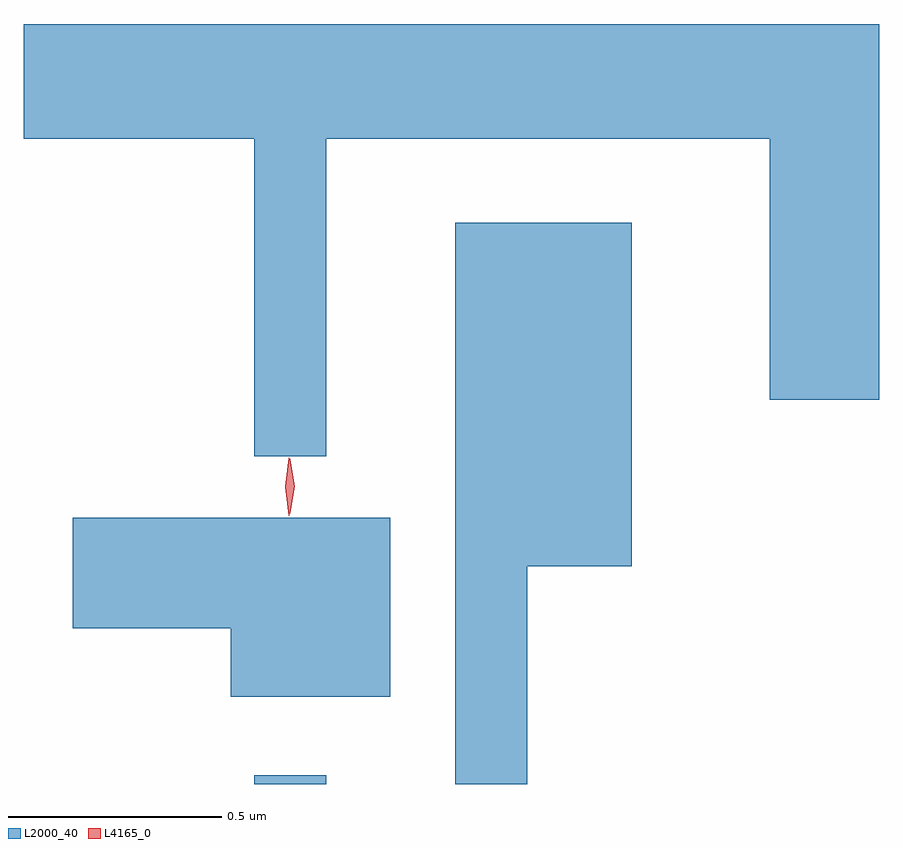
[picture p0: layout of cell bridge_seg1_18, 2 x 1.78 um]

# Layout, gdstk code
import gdstk
lib = gdstk.Library(unit=1e-6, precision=1e-09)
def R(c, l, rs):  # rectangles x0, y0, x1, y1
    for r in rs: c.add(gdstk.rectangle(r[:2], r[2:], *l))
def P(c, l, *ps):  # polygons
    for p in ps: c.add(gdstk.Polygon(p, *l))
L2000_40 = (2000, 40)
L4165_0 = (4165, 0)

bridge_seg1_18 = lib.new_cell('bridge_seg1_18')
R(bridge_seg1_18, L2000_40, [(1612.471,842.567,1612.639,842.588)])
P(bridge_seg1_18, L2000_40, [(1612.639,844.076),(1613.676,844.076),(1613.676,843.466),(1613.932,843.466),(1613.932,844.344),(1611.932,844.344),(1611.932,844.076),(1612.471,844.076),(1612.471,843.333),(1612.639,843.333)],
  [(1613.109,843.076),(1613.354,843.076),(1613.354,843.879),(1612.941,843.879),(1612.941,842.567),(1613.109,842.567)],
  [(1612.789,843.189),(1612.046,843.189),(1612.046,842.931),(1612.416,842.931),(1612.416,842.771),(1612.789,842.771)])
P(bridge_seg1_18, L4165_0, [(1612.554,843.2),(1612.545,843.263),(1612.554,843.326),(1612.555,843.327),(1612.555,843.326),(1612.565,843.263),(1612.555,843.2),(1612.555,843.2)],
  [(1612.552,843.194),(1612.543,843.262),(1612.552,843.33),(1612.553,843.33),(1612.553,843.33),(1612.563,843.262),(1612.553,843.194),(1612.553,843.194)])

lib.write_gds('bridge_seg1_18.gds')
